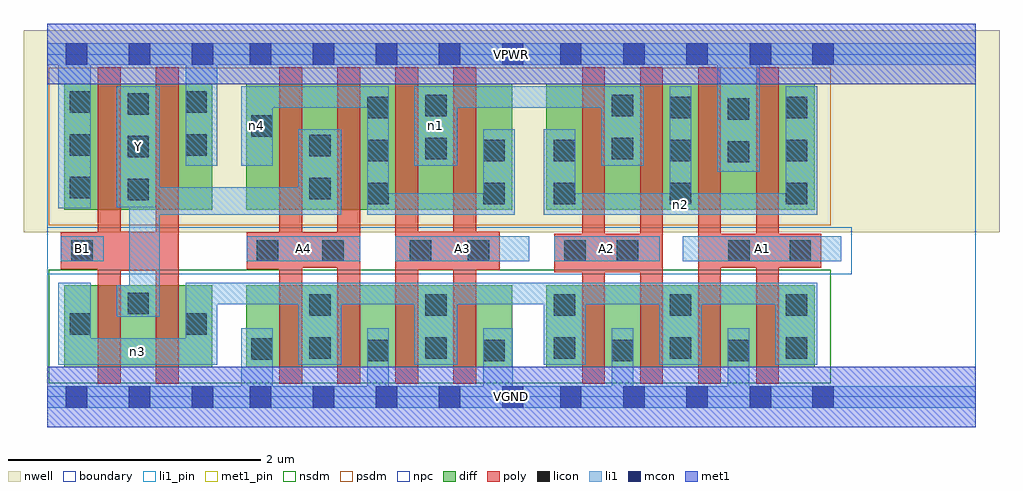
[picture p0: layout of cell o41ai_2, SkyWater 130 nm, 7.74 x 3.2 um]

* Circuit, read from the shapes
.subckt o41ai_2 A1 A2 A3 A4 B1 VGND VPWR Y n1 n2 n3 n4
XM1 Y B1 n3 VSUBS sky130_fd_pr__nfet_01v8 w=0.65 l=0.18 m=2
XM2 n3 A4 VGND VSUBS sky130_fd_pr__nfet_01v8 w=0.65 l=0.18 m=2
XM3 n3 A3 VGND VSUBS sky130_fd_pr__nfet_01v8 w=0.65 l=0.18 m=2
XM4 VGND A2 n3 VSUBS sky130_fd_pr__nfet_01v8 w=0.65 l=0.18 m=2
XM5 VGND A1 n3 VSUBS sky130_fd_pr__nfet_01v8 w=0.65 l=0.18 m=2
XM6 Y B1 VPWR n5 sky130_fd_pr__pfet_01v8 w=1 l=0.18 m=2
XM7 Y A4 n4 n5 sky130_fd_pr__pfet_01v8 w=1 l=0.18 m=2
XM8 n1 A3 n4 n5 sky130_fd_pr__pfet_01v8 w=1 l=0.18 m=2
XM9 n1 A2 n2 n5 sky130_fd_pr__pfet_01v8 w=1 l=0.18 m=2
XM10 VPWR A1 n2 n5 sky130_fd_pr__pfet_01v8 w=1 l=0.18 m=2
.ends

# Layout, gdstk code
import gdstk
lib = gdstk.Library(unit=1e-6, precision=1e-09)
def R(c, l, rs):  # rectangles x0, y0, x1, y1
    for r in rs: c.add(gdstk.rectangle(r[:2], r[2:], *l))
def A(c, l, x, y, w, h, nx, ny, dx, dy):  # array of equal rectangles
    R(c, l, [(x+i*dx, y+j*dy, x+i*dx+w, y+j*dy+h) for i in range(nx) for j in range(ny)])
nwell = (64, 20)
diff = (65, 20)
poly = (66, 20)
licon = (66, 44)
li1_pin = (67, 16)
li1 = (67, 20)
mcon = (67, 44)
met1_pin = (68, 16)
met1 = (68, 20)
nsdm = (93, 44)
psdm = (94, 20)
npc = (95, 20)
boundary = (235, 4)

o41ai_2 = lib.new_cell('o41ai_2')
R(o41ai_2, nwell, [(-0.19,1.305,7.55,2.91), (0,1.305,7.36,2.91)])
R(o41ai_2, diff, [(0.135,0.235,1.305,0.885), (1.575,0.235,3.685,0.885), (3.955,0.235,6.085,0.885), (0.135,1.485,1.305,2.485), (1.575,1.485,3.685,2.485), (3.955,1.485,6.085,2.485)])
A(o41ai_2, poly, 1.84, 0.105, 0.18, 2.51, 4, 1, 0.46, 0)
A(o41ai_2, poly, 4.24, 0.105, 0.18, 2.51, 4, 1, 0.46, 0)
R(o41ai_2, poly, [(0.4,0.105,0.58,2.615), (0.86,0.105,1.04,2.615), (4.02,0.99,4.88,1.295), (0.4,1,1.04,1.31), (2.76,1.01,3.585,1.31), (0.105,1.015,1.04,1.305), (1.58,1.015,2.02,1.305), (1.58,1.025,2.48,1.305), (5.16,1.025,6.135,1.295)])
A(o41ai_2, licon, 4.015, 0.305, 0.17, 0.17, 3, 2, 0.92, 0.34)
A(o41ai_2, licon, 2.535, 1.53, 0.17, 0.17, 1, 3, 0, 0.34)
A(o41ai_2, licon, 4.015, 1.53, 0.17, 0.17, 3, 2, 0.92, 0.34)
A(o41ai_2, licon, 0.635, 1.56, 0.17, 0.17, 1, 3, 0, 0.34)
A(o41ai_2, licon, 0.175, 1.575, 0.17, 0.17, 1, 3, 0, 0.34)
R(o41ai_2, licon, [(2.535,0.285,2.705,0.455), (3.455,0.285,3.625,0.455), (4.475,0.285,4.645,0.455), (5.395,0.285,5.565,0.455), (1.615,0.295,1.785,0.465), (2.075,0.305,2.245,0.475), (2.995,0.305,3.165,0.475), (0.175,0.495,0.345,0.665), (1.095,0.495,1.265,0.665), (2.075,0.645,2.245,0.815), (2.995,0.645,3.165,0.815), (0.635,0.655,0.805,0.825), (0.19,1.075,0.36,1.245), (1.66,1.075,1.83,1.245), (2.18,1.075,2.35,1.245), (2.875,1.075,3.045,1.245), (3.335,1.075,3.505,1.245), (4.1,1.075,4.27,1.245), (4.515,1.075,4.685,1.245), (5.4,1.075,5.57,1.245), (5.885,1.075,6.055,1.245), (3.455,1.53,3.625,1.7), (2.075,1.57,2.245,1.74), (5.395,1.86,5.565,2.03), (3.455,1.87,3.625,2.04), (2.995,1.885,3.165,2.055), (4.475,1.885,4.645,2.055), (2.075,1.91,2.245,2.08), (1.095,1.915,1.265,2.085), (1.615,2.065,1.785,2.235), (5.395,2.2,5.565,2.37), (4.935,2.21,5.105,2.38), (5.855,2.21,6.025,2.38), (2.995,2.225,3.165,2.395), (4.475,2.225,4.645,2.395), (1.095,2.255,1.265,2.425)])
R(o41ai_2, li1_pin, [(0.105,1.075,0.445,1.275), (1.58,1.075,2.48,1.275), (2.76,1.075,3.82,1.275), (4.02,1.075,4.855,1.275), (5.04,1.075,6.295,1.275), (0.55,1.505,0.89,2.465)])
R(o41ai_2, li1, [(0,-0.085,7.36,0.085), (1.535,-0.085,1.785,0.545), (2.535,-0.085,2.705,0.545), (3.455,-0.085,3.69,0.545), (4.475,-0.085,4.645,0.545), (5.395,-0.085,5.565,0.545), (0.085,0.255,1.345,0.465), (0.085,0.255,0.345,0.905), (1.095,0.255,1.345,0.905), (1.99,0.255,2.33,0.905), (2.91,0.255,3.25,0.905), (3.935,0.255,4.27,0.905), (4.85,0.255,5.19,0.905), (5.77,0.255,6.105,0.905), (0.55,0.635,0.89,0.885), (0.65,0.635,0.89,2.465), (1.095,0.735,6.105,0.905), (0.105,1.075,0.445,1.275), (1.58,1.075,2.48,1.275), (2.76,1.075,3.82,1.275), (4.02,1.075,4.855,1.275), (5.04,1.075,6.295,1.275), (0.65,1.445,2.33,1.665), (1.99,1.445,2.33,2.125), (2.535,1.445,3.705,1.615), (2.535,1.445,2.705,2.465), (3.455,1.445,3.705,2.125), (3.935,1.445,4.185,2.125), (3.935,1.445,6.105,1.615), (4.935,1.445,5.105,2.465), (5.855,1.445,6.105,2.465), (0.085,1.495,0.345,2.805), (0.55,1.505,0.89,2.465), (5.31,1.785,5.65,2.805), (1.095,1.835,1.345,2.805), (1.535,1.835,1.785,2.465), (2.91,1.835,3.25,2.465), (4.39,1.835,4.73,2.465), (1.535,2.295,2.705,2.465), (2.91,2.295,4.73,2.465), (0,2.635,7.36,2.805)])
A(o41ai_2, mcon, 0.145, -0.085, 0.17, 0.17, 3, 2, 0.5, 2.72)
A(o41ai_2, mcon, 1.605, -0.085, 0.17, 0.17, 5, 2, 0.5, 2.72)
A(o41ai_2, mcon, 4.065, -0.085, 0.17, 0.17, 3, 2, 0.5, 2.72)
R(o41ai_2, mcon, [(5.57,-0.085,5.74,0.085), (6.065,-0.085,6.235,0.085), (5.57,2.635,5.74,2.805), (6.065,2.635,6.235,2.805)])
R(o41ai_2, met1_pin, [(0,-0.24,7.36,0.24), (0,2.48,7.36,2.96)])
R(o41ai_2, met1, [(0,-0.24,7.36,0.24), (0,2.48,7.36,2.96)])
R(o41ai_2, nsdm, [(0.01,0.11,6.21,1.01)])
R(o41ai_2, psdm, [(0.01,1.36,6.21,2.61)])
R(o41ai_2, npc, [(0,0.975,6.38,1.345)])
R(o41ai_2, boundary, [(0,0,7.36,2.72)])
o41ai_2.add(gdstk.Label('A1', (5.667,1.175), layer=67, texttype=5))
o41ai_2.add(gdstk.Label('A2', (4.437,1.175), layer=67, texttype=5))
o41ai_2.add(gdstk.Label('A3', (3.29,1.175), layer=67, texttype=5))
o41ai_2.add(gdstk.Label('A4', (2.03,1.175), layer=67, texttype=5))
o41ai_2.add(gdstk.Label('B1', (0.275,1.175), layer=67, texttype=5))
o41ai_2.add(gdstk.Label('Y', (0.72,1.985), layer=67, texttype=5))
o41ai_2.add(gdstk.Label('n3', (0.715,0.36), layer=67, texttype=5))
o41ai_2.add(gdstk.Label('n4', (1.66,2.15), layer=67, texttype=5))
o41ai_2.add(gdstk.Label('n1', (3.08,2.15), layer=67, texttype=5))
o41ai_2.add(gdstk.Label('n2', (5.02,1.53), layer=67, texttype=5))
o41ai_2.add(gdstk.Label('VPWR', (3.68,2.72), layer=68, texttype=5))
o41ai_2.add(gdstk.Label('VGND', (3.68,0), layer=68, texttype=5))
o41ai_2.add(gdstk.Label('A1', (5.667,1.175), layer=67, texttype=16))
o41ai_2.add(gdstk.Label('A2', (4.437,1.175), layer=67, texttype=16))
o41ai_2.add(gdstk.Label('A3', (3.29,1.175), layer=67, texttype=16))
o41ai_2.add(gdstk.Label('A4', (2.03,1.175), layer=67, texttype=16))
o41ai_2.add(gdstk.Label('B1', (0.275,1.175), layer=67, texttype=16))
o41ai_2.add(gdstk.Label('Y', (0.72,1.985), layer=67, texttype=16))
o41ai_2.add(gdstk.Label('VPWR', (3.68,2.72), layer=68, texttype=16))
o41ai_2.add(gdstk.Label('VGND', (3.68,0), layer=68, texttype=16))

lib.write_gds('o41ai_2.gds')
